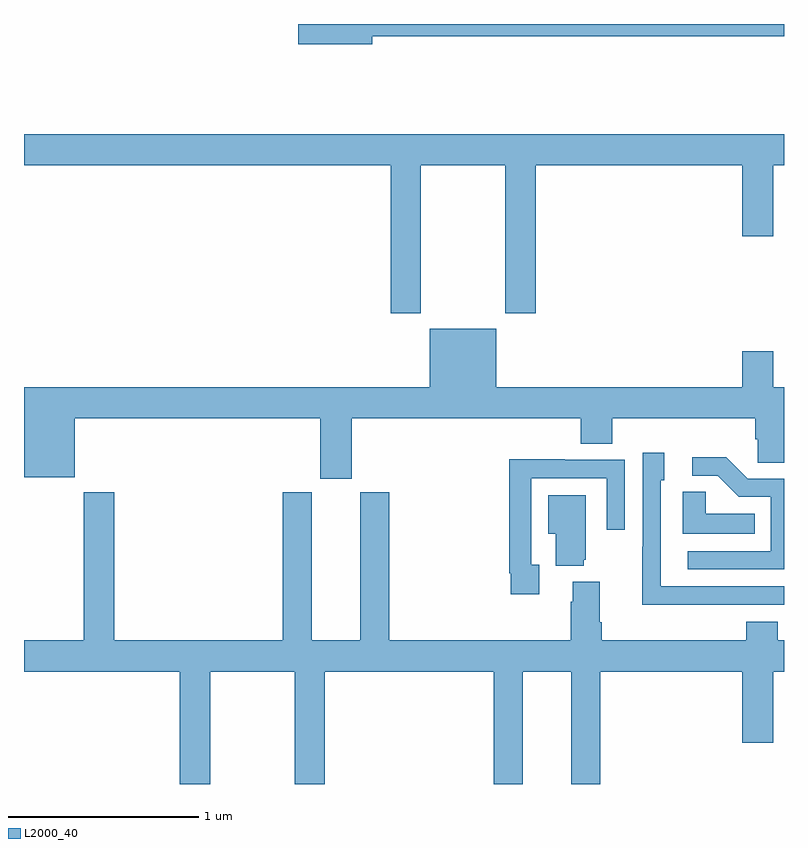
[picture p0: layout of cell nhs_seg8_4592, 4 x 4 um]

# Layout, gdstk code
import gdstk
lib = gdstk.Library(unit=1e-6, precision=1e-09)
def P(c, l, *ps):  # polygons
    for p in ps: c.add(gdstk.Polygon(p, *l))
L2000_40 = (2000, 40)

nhs_seg8_4592 = lib.new_cell('nhs_seg8_4592')
P(nhs_seg8_4592, L2000_40, [(390.832,1127.836),(393,1127.836),(393,1127.9),(390.444,1127.9),(390.444,1127.794),(390.832,1127.794)],
  [(391.089,1127.156),(391.534,1127.156),(391.534,1126.377),(391.694,1126.377),(391.694,1127.156),(392.78,1127.156),(392.78,1126.782),(392.944,1126.782),(392.944,1127.156),(393,1127.156),(393,1127.32),(389,1127.32),(389,1127.156),(390.929,1127.156),(390.929,1126.377),(391.089,1126.377)],
  [(389,1125.515),(389.266,1125.515),(389.266,1125.824),(390.56,1125.824),(390.56,1125.507),(390.724,1125.507),(390.724,1125.824),(391.931,1125.824),(391.931,1125.691),(392.096,1125.691),(392.096,1125.824),(392.849,1125.824),(392.849,1125.715),(392.862,1125.715),(392.862,1125.592),(393,1125.592),(393,1125.988),(392.944,1125.988),(392.944,1126.177),(392.78,1126.177),(392.78,1125.988),(391.486,1125.988),(391.486,1126.297),(391.136,1126.297),(391.136,1125.988),(389,1125.988)],
  [(392.717,1124.844),(393,1124.844),(393,1124.94),(392.352,1124.94),(392.352,1125.498),(392.371,1125.498),(392.371,1125.643),(392.256,1125.643),(392.256,1125.149),(392.254,1125.149),(392.254,1124.843),(392.717,1124.843)],
  [(393,1125.507),(392.808,1125.507),(392.695,1125.62),(392.517,1125.62),(392.517,1125.522),(392.651,1125.522),(392.762,1125.411),(392.931,1125.411),(392.931,1125.126),(392.493,1125.126),(392.493,1125.03),(393,1125.03)],
  [(391.711,1125.054),(391.671,1125.054),(391.671,1125.51),(392.067,1125.51),(392.067,1125.237),(392.163,1125.237),(392.163,1125.606),(391.847,1125.606),(391.847,1125.608),(391.555,1125.608),(391.555,1125.01),(391.563,1125.01),(391.563,1124.898),(391.711,1124.898)],
  [(392.846,1125.322),(392.589,1125.322),(392.589,1125.437),(392.468,1125.437),(392.468,1125.218),(392.846,1125.218)],
  [(389.979,1124.492),(390.424,1124.492),(390.424,1123.9),(390.584,1123.9),(390.584,1124.492),(391.472,1124.492),(391.472,1123.9),(391.624,1123.9),(391.624,1124.492),(391.88,1124.492),(391.88,1123.9),(392.033,1123.9),(392.033,1124.492),(392.78,1124.492),(392.78,1124.118),(392.944,1124.118),(392.944,1124.492),(393,1124.492),(393,1124.656),(392.966,1124.656),(392.966,1124.755),(392.801,1124.755),(392.801,1124.656),(392.042,1124.656),(392.042,1124.752),(392.029,1124.752),(392.029,1124.965),(391.889,1124.965),(391.889,1124.858),(391.877,1124.858),(391.877,1124.656),(390.923,1124.656),(390.923,1125.435),(390.77,1125.435),(390.77,1124.656),(390.514,1124.656),(390.514,1125.435),(390.362,1125.435),(390.362,1124.656),(389.474,1124.656),(389.474,1125.436),(389.314,1125.436),(389.314,1124.656),(389,1124.656),(389,1124.492),(389.819,1124.492),(389.819,1123.9),(389.979,1123.9)],
  [(391.946,1125.081),(391.957,1125.081),(391.957,1125.421),(391.76,1125.421),(391.76,1125.218),(391.799,1125.218),(391.799,1125.05),(391.946,1125.05)])

lib.write_gds('nhs_seg8_4592.gds')
